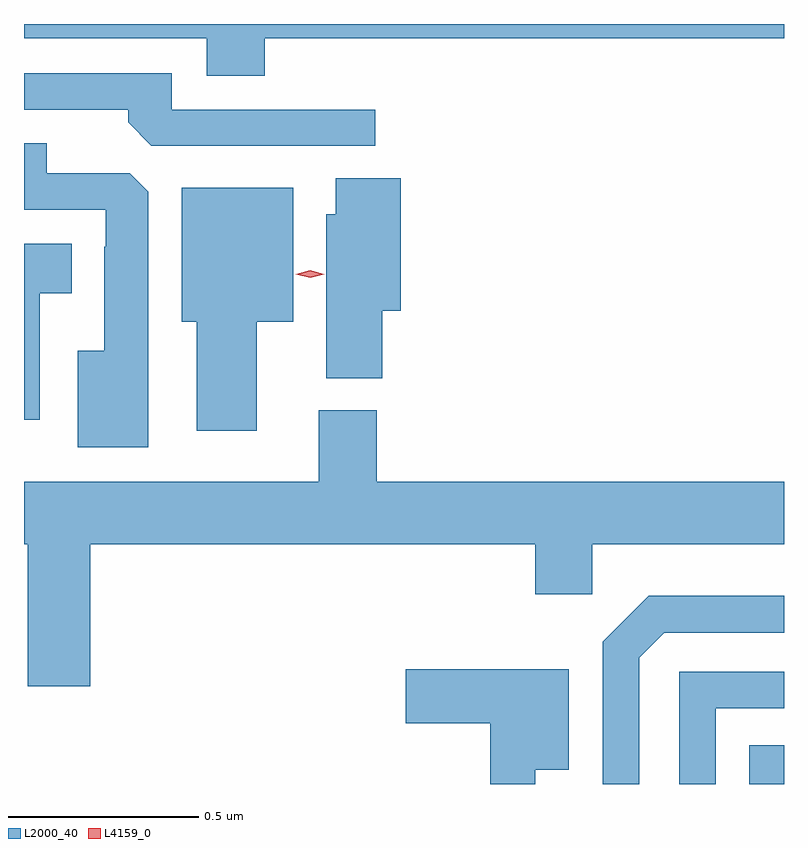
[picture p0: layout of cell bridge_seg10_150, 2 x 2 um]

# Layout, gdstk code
import gdstk
lib = gdstk.Library(unit=1e-6, precision=1e-09)
def R(c, l, rs):  # rectangles x0, y0, x1, y1
    for r in rs: c.add(gdstk.rectangle(r[:2], r[2:], *l))
def P(c, l, *ps):  # polygons
    for p in ps: c.add(gdstk.Polygon(p, *l))
L2000_40 = (2000, 40)
L4159_0 = (4159, 0)

bridge_seg10_150 = lib.new_cell('bridge_seg10_150')
R(bridge_seg10_150, L2000_40, [(322.751,1278.373,322.842,1278.475)])
P(bridge_seg10_150, L2000_40, [(321.476,1280.336),(322.842,1280.336),(322.842,1280.373),(320.842,1280.373),(320.842,1280.336),(321.323,1280.336),(321.323,1280.237),(321.476,1280.237)],
  [(321.766,1280.148),(321.231,1280.148),(321.231,1280.244),(320.842,1280.244),(320.842,1280.148),(321.116,1280.148),(321.116,1280.114),(321.177,1280.052),(321.766,1280.052)],
  [(321.169,1279.931),(321.12,1279.98),(320.902,1279.98),(320.902,1280.059),(320.842,1280.059),(320.842,1279.884),(321.057,1279.884),(321.057,1279.787),(321.053,1279.787),(321.053,1279.513),(320.984,1279.513),(320.984,1279.259),(321.169,1279.259)],
  [(321.785,1279.619),(321.833,1279.619),(321.833,1279.967),(321.662,1279.967),(321.662,1279.872),(321.638,1279.872),(321.638,1279.441),(321.785,1279.441)],
  [(321.454,1279.589),(321.55,1279.589),(321.55,1279.942),(321.257,1279.942),(321.257,1279.589),(321.296,1279.589),(321.296,1279.302),(321.454,1279.302)],
  [(320.884,1279.664),(320.968,1279.664),(320.968,1279.795),(320.842,1279.795),(320.842,1279.332),(320.884,1279.332)],
  [(321.016,1279.004),(322.187,1279.004),(322.187,1278.873),(322.338,1278.873),(322.338,1279.004),(322.842,1279.004),(322.842,1279.168),(321.77,1279.168),(321.77,1279.356),(321.617,1279.356),(321.617,1279.168),(320.842,1279.168),(320.842,1279.004),(320.852,1279.004),(320.852,1278.63),(321.016,1278.63)],
  [(322.461,1278.705),(322.527,1278.771),(322.842,1278.771),(322.842,1278.868),(322.486,1278.868),(322.365,1278.747),(322.365,1278.373),(322.461,1278.373)],
  [(322.187,1278.41),(322.276,1278.41),(322.276,1278.675),(321.846,1278.675),(321.846,1278.533),(322.069,1278.533),(322.069,1278.373),(322.187,1278.373)],
  [(322.662,1278.573),(322.842,1278.573),(322.842,1278.669),(322.566,1278.669),(322.566,1278.373),(322.662,1278.373)])
P(bridge_seg10_150, L4159_0, [(321.595,1279.705),(321.557,1279.715),(321.557,1279.715),(321.557,1279.715),(321.595,1279.725),(321.632,1279.715),(321.632,1279.715),(321.632,1279.715)])

lib.write_gds('bridge_seg10_150.gds')
